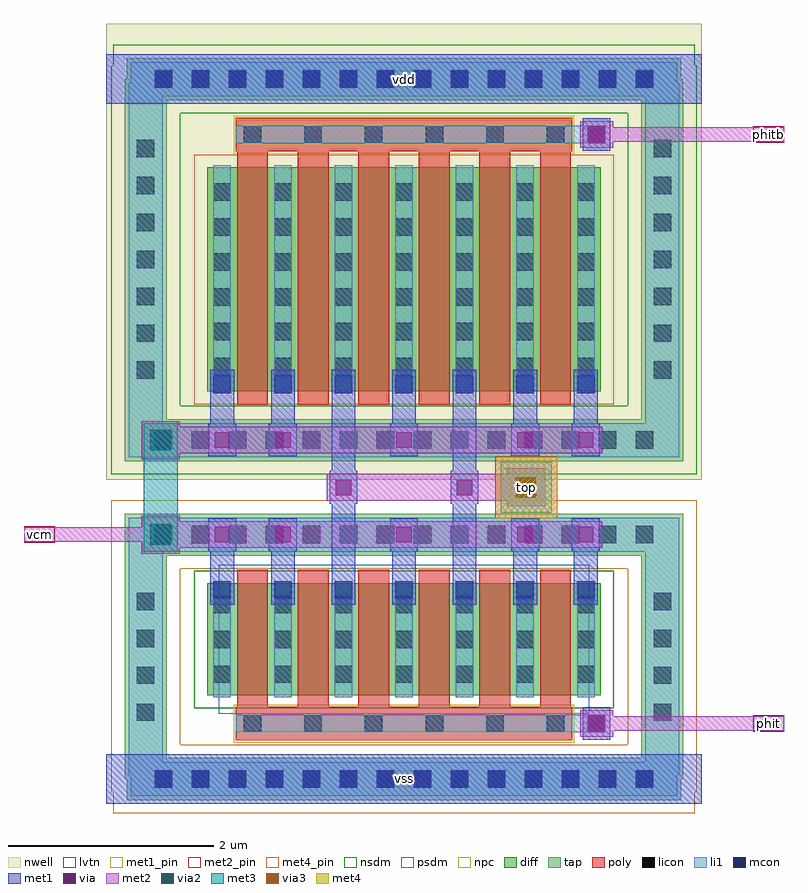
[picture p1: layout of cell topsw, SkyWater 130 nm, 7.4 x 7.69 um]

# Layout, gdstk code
import gdstk
lib = gdstk.Library(unit=1e-6, precision=1e-09)
def R(c, l, rs):  # rectangles x0, y0, x1, y1
    for r in rs: c.add(gdstk.rectangle(r[:2], r[2:], *l))
def A(c, l, x, y, w, h, nx, ny, dx, dy):  # array of equal rectangles
    R(c, l, [(x+i*dx, y+j*dy, x+i*dx+w, y+j*dy+h) for i in range(nx) for j in range(ny)])
nwell = (64, 20)
diff = (65, 20)
tap = (65, 44)
poly = (66, 20)
licon = (66, 44)
li1 = (67, 20)
mcon = (67, 44)
met1_pin = (68, 16)
met1 = (68, 20)
via = (68, 44)
met2_pin = (69, 16)
met2 = (69, 20)
via2 = (69, 44)
met3 = (70, 20)
via3 = (70, 44)
met4_pin = (71, 16)
met4 = (71, 20)
nsdm = (93, 44)
psdm = (94, 20)
npc = (95, 20)
lvtn = (125, 44)

topsw = lib.new_cell('topsw')
R(topsw, nwell, [(-2.9,3.155,2.9,7.595)])
A(topsw, diff, -1.915, 1.055, 0.88, 1.09, 6, 1, 0.59, 0)
A(topsw, diff, -1.915, 4.015, 0.88, 2.18, 6, 1, 0.59, 0)
R(topsw, tap, [(-2.7,0.035,2.7,0.445), (-2.72,0.24,-2.31,2.62), (2.31,0.24,2.72,2.62), (-2.72,2.415,2.72,2.825), (-2.72,3.335,2.72,3.745), (-2.72,3.54,-2.31,7.055), (2.31,3.54,2.72,7.055), (-2.7,6.85,2.7,7.26)])
A(topsw, poly, -1.64, 0.615, 0.33, 0.33, 6, 2, 0.59, 5.735)
A(topsw, poly, -1.32, 0.615, 0.28, 0.33, 5, 2, 0.59, 5.735)
A(topsw, poly, -1.625, 0.945, 0.3, 1.33, 6, 1, 0.59, 0)
A(topsw, poly, -1.625, 3.885, 0.3, 2.465, 6, 1, 0.59, 0)
A(topsw, licon, -2.425, 0.155, 0.17, 0.17, 14, 2, 0.36, 2.38)
A(topsw, licon, -1.56, 0.695, 0.17, 0.17, 6, 2, 0.59, 5.735)
A(topsw, licon, -2.6, 0.805, 0.17, 0.17, 1, 4, 0, 0.36)
A(topsw, licon, 2.43, 0.805, 0.17, 0.17, 1, 4, 0, 0.36)
A(topsw, licon, -1.855, 1.175, 0.17, 0.17, 1, 3, 0, 0.34)
A(topsw, licon, 1.685, 1.175, 0.17, 0.17, 1, 3, 0, 0.34)
A(topsw, licon, -2.425, 3.455, 0.17, 0.17, 14, 2, 0.36, 3.515)
A(topsw, licon, -2.6, 4.135, 0.17, 0.17, 1, 7, 0, 0.36)
A(topsw, licon, 2.43, 4.135, 0.17, 0.17, 1, 7, 0, 0.36)
A(topsw, licon, -1.855, 4.17, 0.17, 0.17, 1, 6, 0, 0.34)
A(topsw, licon, 1.685, 4.17, 0.17, 0.17, 1, 6, 0, 0.34)
R(topsw, licon, [(-1.265,1.175,-1.095,1.345), (-1.265,1.175,-1.095,1.345), (-0.675,1.175,-0.505,1.345), (-0.675,1.175,-0.505,1.345), (-0.085,1.175,0.085,1.345), (-0.085,1.175,0.085,1.345), (0.505,1.175,0.675,1.345), (0.505,1.175,0.675,1.345), (1.095,1.175,1.265,1.345), (1.095,1.175,1.265,1.345), (-1.265,1.515,-1.095,1.685), (-1.265,1.515,-1.095,1.685), (-0.675,1.515,-0.505,1.685), (-0.675,1.515,-0.505,1.685), (-0.085,1.515,0.085,1.685), (-0.085,1.515,0.085,1.685), (0.505,1.515,0.675,1.685), (0.505,1.515,0.675,1.685), (1.095,1.515,1.265,1.685), (1.095,1.515,1.265,1.685), (-1.265,1.855,-1.095,2.025), (-1.265,1.855,-1.095,2.025), (-0.675,1.855,-0.505,2.025), (-0.675,1.855,-0.505,2.025), (-0.085,1.855,0.085,2.025), (-0.085,1.855,0.085,2.025), (0.505,1.855,0.675,2.025), (0.505,1.855,0.675,2.025), (1.095,1.855,1.265,2.025), (1.095,1.855,1.265,2.025), (-1.265,4.17,-1.095,4.34), (-1.265,4.17,-1.095,4.34), (-0.675,4.17,-0.505,4.34), (-0.675,4.17,-0.505,4.34), (-0.085,4.17,0.085,4.34), (-0.085,4.17,0.085,4.34), (0.505,4.17,0.675,4.34), (0.505,4.17,0.675,4.34), (1.095,4.17,1.265,4.34), (1.095,4.17,1.265,4.34), (-1.265,4.51,-1.095,4.68), (-1.265,4.51,-1.095,4.68), (-0.675,4.51,-0.505,4.68), (-0.675,4.51,-0.505,4.68), (-0.085,4.51,0.085,4.68), (-0.085,4.51,0.085,4.68), (0.505,4.51,0.675,4.68), (0.505,4.51,0.675,4.68), (1.095,4.51,1.265,4.68), (1.095,4.51,1.265,4.68), (-1.265,4.85,-1.095,5.02), (-1.265,4.85,-1.095,5.02), (-0.675,4.85,-0.505,5.02), (-0.675,4.85,-0.505,5.02), (-0.085,4.85,0.085,5.02), (-0.085,4.85,0.085,5.02), (0.505,4.85,0.675,5.02), (0.505,4.85,0.675,5.02), (1.095,4.85,1.265,5.02), (1.095,4.85,1.265,5.02), (-1.265,5.19,-1.095,5.36), (-1.265,5.19,-1.095,5.36), (-0.675,5.19,-0.505,5.36), (-0.675,5.19,-0.505,5.36), (-0.085,5.19,0.085,5.36), (-0.085,5.19,0.085,5.36), (0.505,5.19,0.675,5.36), (0.505,5.19,0.675,5.36), (1.095,5.19,1.265,5.36), (1.095,5.19,1.265,5.36), (-1.265,5.53,-1.095,5.7), (-1.265,5.53,-1.095,5.7), (-0.675,5.53,-0.505,5.7), (-0.675,5.53,-0.505,5.7), (-0.085,5.53,0.085,5.7), (-0.085,5.53,0.085,5.7), (0.505,5.53,0.675,5.7), (0.505,5.53,0.675,5.7), (1.095,5.53,1.265,5.7), (1.095,5.53,1.265,5.7), (-1.265,5.87,-1.095,6.04), (-1.265,5.87,-1.095,6.04), (-0.675,5.87,-0.505,6.04), (-0.675,5.87,-0.505,6.04), (-0.085,5.87,0.085,6.04), (-0.085,5.87,0.085,6.04), (0.505,5.87,0.675,6.04), (0.505,5.87,0.675,6.04), (1.095,5.87,1.265,6.04), (1.095,5.87,1.265,6.04)])
A(topsw, li1, -1.64, 0.695, 0.33, 0.17, 6, 2, 0.59, 5.735)
A(topsw, li1, -1.32, 0.695, 0.28, 0.17, 5, 2, 0.59, 5.735)
R(topsw, li1, [(-2.66,0.075,2.66,0.405), (-2.68,0.28,-2.35,2.58), (2.35,0.28,2.68,2.58), (-1.64,0.695,1.96,0.865), (-1.855,1.035,-1.685,2.165), (-1.265,1.035,-1.095,2.165), (-1.265,1.035,-1.095,2.165), (-0.675,1.035,-0.505,2.165), (-0.675,1.035,-0.505,2.165), (-0.085,1.035,0.085,2.165), (-0.085,1.035,0.085,2.165), (0.505,1.035,0.675,2.165), (0.505,1.035,0.675,2.165), (1.095,1.035,1.265,2.165), (1.095,1.035,1.265,2.165), (1.685,1.035,1.855,2.165), (-2.68,2.455,2.68,2.785), (-2.68,3.375,2.68,3.705), (-2.68,3.58,-2.35,7.015), (2.35,3.58,2.68,7.015), (-1.855,3.995,-1.685,6.215), (-1.265,3.995,-1.095,6.215), (-1.265,3.995,-1.095,6.215), (-0.675,3.995,-0.505,6.215), (-0.675,3.995,-0.505,6.215), (-0.085,3.995,0.085,6.215), (-0.085,3.995,0.085,6.215), (0.505,3.995,0.675,6.215), (0.505,3.995,0.675,6.215), (1.095,3.995,1.265,6.215), (1.095,3.995,1.265,6.215), (1.685,3.995,1.855,6.215), (-1.64,6.43,1.96,6.6), (-2.66,6.89,2.66,7.22)])
A(topsw, mcon, -2.425, 0.155, 0.17, 0.17, 14, 2, 0.36, 6.815)
A(topsw, mcon, -1.855, 1.995, 0.17, 0.17, 7, 2, 0.59, 2)
R(topsw, mcon, [(1.79,0.695,1.96,0.865), (1.79,6.43,1.96,6.6)])
R(topsw, met1_pin, [(-0.15,0.16,0.15,0.32), (-0.15,6.975,0.15,7.135)])
A(topsw, met1, -1.885, 1.935, 0.23, 0.29, 7, 2, 0.59, 2)
A(topsw, met1, -1.295, 2.08, 0.23, 0.54, 3, 2, 1.18, 1.46)
A(topsw, met1, -1.315, 2.46, 0.27, 0.32, 3, 2, 1.18, 0.92)
A(topsw, met1, -1.295, 2.46, 0.23, 0.32, 3, 2, 1.18, 0.92)
R(topsw, met1, [(-2.9,0,2.9,0.48), (1.74,0.62,2.01,0.94), (-1.885,2.08,-1.655,2.62), (-0.705,2.08,-0.475,3.08), (0.475,2.08,0.705,3.08), (1.655,2.08,1.885,2.62), (-1.905,2.46,-1.635,2.78), (-1.885,2.46,-1.655,2.78), (1.635,2.46,1.905,2.78), (1.655,2.46,1.885,2.78), (-0.725,2.92,-0.455,3.24), (-0.705,2.92,-0.475,3.24), (0.455,2.92,0.725,3.24), (0.475,2.92,0.705,3.24), (-0.705,3.08,-0.475,4.08), (0.475,3.08,0.705,4.08), (-1.905,3.38,-1.635,3.7), (-1.885,3.38,-1.655,3.7), (1.635,3.38,1.905,3.7), (1.655,3.38,1.885,3.7), (-1.885,3.54,-1.655,4.08), (1.655,3.54,1.885,4.08), (1.74,6.355,2.01,6.675), (-2.9,6.815,2.9,7.295)])
A(topsw, via, -1.255, 2.545, 0.15, 0.15, 3, 2, 1.18, 0.92)
R(topsw, via, [(1.8,0.705,1.95,0.855), (-1.845,2.545,-1.695,2.695), (1.695,2.545,1.845,2.695), (-0.665,3.005,-0.515,3.155), (0.515,3.005,0.665,3.155), (-1.845,3.465,-1.695,3.615), (1.695,3.465,1.845,3.615), (1.8,6.44,1.95,6.59)])
R(topsw, met2_pin, [(3.4,0.7,3.7,0.86), (-3.7,2.54,-3.4,2.7), (3.4,6.435,3.7,6.595)])
A(topsw, met2, -1.34, 2.49, 0.32, 0.26, 3, 2, 1.18, 0.92)
R(topsw, met2, [(1.715,0.65,2.035,0.91), (1.875,0.71,3.7,0.85), (-2.555,2.435,-2.185,2.805), (-2.53,2.49,1.93,2.75), (-1.93,2.49,-1.61,2.75), (1.61,2.49,1.93,2.75), (-3.7,2.55,-1.77,2.69), (1.005,2.895,1.375,3.265), (-0.75,2.95,-0.43,3.21), (-0.75,2.95,0.75,3.21), (0.43,2.95,0.75,3.21), (0.59,2.95,1.19,3.21), (-2.555,3.355,-2.185,3.725), (-2.53,3.41,1.93,3.67), (-1.93,3.41,-1.61,3.67), (1.61,3.41,1.93,3.67), (1.715,6.385,2.035,6.645), (1.875,6.445,3.7,6.585)])
R(topsw, via2, [(-2.47,2.52,-2.27,2.72), (1.09,2.98,1.29,3.18), (-2.47,3.44,-2.27,3.64)])
R(topsw, met3, [(-2.535,2.455,-2.205,2.785), (-2.535,2.455,-2.205,3.705), (0.94,2.83,1.44,3.33), (-2.535,3.375,-2.205,3.705)])
R(topsw, via3, [(1.09,2.98,1.29,3.18)])
R(topsw, met4_pin, [(1.04,3,1.34,3.16)])
R(topsw, met4, [(0.89,2.78,1.49,3.38)])
A(topsw, nsdm, -2.04, 0.93, 1.13, 1.34, 6, 1, 0.59, 0)
R(topsw, nsdm, [(-2.85,3.205,2.85,3.875), (-2.85,3.41,-2.18,7.185), (2.18,3.41,2.85,7.185), (-2.83,6.72,2.83,7.39)])
A(topsw, psdm, -2.04, 3.89, 1.13, 2.43, 6, 1, 0.59, 0)
R(topsw, psdm, [(-2.83,-0.095,2.83,0.575), (-2.85,0.11,-2.18,2.75), (2.18,0.11,2.85,2.75), (-2.85,2.285,2.85,2.955)])
A(topsw, npc, -1.66, 0.595, 0.37, 0.37, 6, 2, 0.59, 5.735)
A(topsw, npc, -1.3, 0.595, 0.24, 0.37, 5, 2, 0.59, 5.735)
A(topsw, lvtn, -1.805, 0.875, 0.66, 1.45, 6, 1, 0.59, 0)
topsw.add(gdstk.Label('top', (1.19,3.08), layer=71, texttype=5))
topsw.add(gdstk.Label('vcm', (-3.55,2.62), layer=69, texttype=5))
topsw.add(gdstk.Label('phit', (3.55,0.78), layer=69, texttype=5))
topsw.add(gdstk.Label('phitb', (3.55,6.515), layer=69, texttype=5))
topsw.add(gdstk.Label('vss', (0,0.24), layer=68, texttype=5))
topsw.add(gdstk.Label('vdd', (0,7.055), layer=68, texttype=5))

lib.write_gds('topsw.gds')
